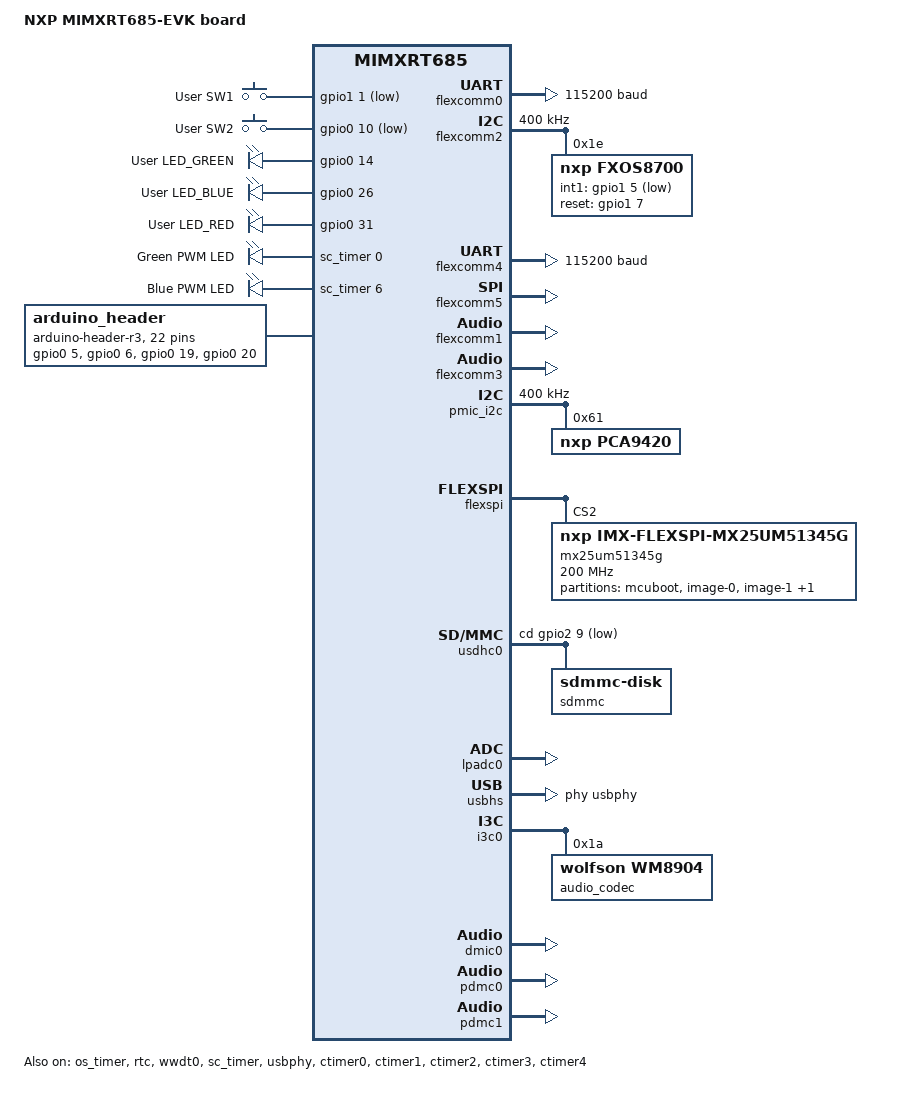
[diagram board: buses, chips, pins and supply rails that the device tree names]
/*
 * Copyright 2020-2024 NXP
 *
 * SPDX-License-Identifier: Apache-2.0
 */

/dts-v1/;

#include <nxp/nxp_rt6xx.dtsi>
#include <zephyr/dt-bindings/pwm/pwm.h>
#include <zephyr/dt-bindings/gpio/arduino-header-r3.h>
#include <zephyr/dt-bindings/input/input-event-codes.h>

#include "mimxrt685_evk-pinctrl.dtsi"

/ {
	model = "NXP MIMXRT685-EVK board";
	compatible = "nxp,mimxrt685";

	aliases {
		sw0 = &user_button_1;
		sw1 = &user_button_2;
		led0 = &green_led;
		led1 = &blue_led;
		led2 = &red_led;
		usart-0 = &flexcomm0;
		/* For pwm test suites */
		pwm-0 = &sc_timer;
		pwm-led0 = &green_pwm_led;
		green-pwm-led = &green_pwm_led;
		blue-pwm-led = &blue_pwm_led;
		red-pwm-led = &red_pwm_led;
		watchdog0 = &wwdt0;
		magn0 = &fxos8700;
		accel0 = &fxos8700;
		sdhc0 = &usdhc0;
		dmic-dev = &dmic0;
		mcuboot-button0 = &user_button_1;
		mbox = &mbox;
	};

	chosen {
		zephyr,flash-controller = &mx25um51345g;
		zephyr,flash = &mx25um51345g;
		zephyr,code-partition = &slot0_partition;
		zephyr,uart-mcumgr = &flexcomm0;
		zephyr,sram = &sram0;
		zephyr,console = &flexcomm0;
		zephyr,shell-uart = &flexcomm0;
	};

	gpio_keys {
		compatible = "gpio-keys";

		user_button_1: button_0 {
			label = "User SW1";
			gpios = <&gpio1 1 GPIO_ACTIVE_LOW>;
			zephyr,code = <INPUT_KEY_0>;
		};

		user_button_2: button_1 {
			label = "User SW2";
			gpios = <&gpio0 10 GPIO_ACTIVE_LOW>;
			zephyr,code = <INPUT_KEY_1>;
		};
	};

	leds: leds {
		compatible = "gpio-leds";

		green_led: led_1 {
			gpios = <&gpio0 14 0>;
			label = "User LED_GREEN";
		};

		blue_led: led_2 {
			gpios = <&gpio0 26 0>;
			label = "User LED_BLUE";
		};

		red_led: led_3 {
			gpios = <&gpio0 31 0>;
			label = "User LED_RED";
		};
	};

	pwmleds {
		compatible = "pwm-leds";

		green_pwm_led: green_pwm_led {
			pwms = <&sc_timer 0 PWM_MSEC(20) PWM_POLARITY_NORMAL>;
			label = "Green PWM LED";
			status = "okay";
		};

		blue_pwm_led: blue_pwm_led {
			pwms = <&sc_timer 6 PWM_MSEC(20) PWM_POLARITY_NORMAL>;
			label = "Blue PWM LED";
			status = "okay";
		};

		red_pwm_led: red_pwm_led {
			pwms = <&sc_timer 6 PWM_MSEC(20) PWM_POLARITY_NORMAL>;
			label = "Red PWM LED";
			status = "disabled";
		};
	};

	arduino_header: arduino-connector {
		compatible = "arduino-header-r3";
		#gpio-cells = <2>;
		gpio-map-mask = <0xffffffff 0xffffffc0>;
		gpio-map-pass-thru = <0 0x3f>;
		gpio-map = <ARDUINO_HEADER_R3_A0 0 &gpio0 5 0>,
			   <ARDUINO_HEADER_R3_A1 0 &gpio0 6 0>,
			   <ARDUINO_HEADER_R3_A2 0 &gpio0 19 0>,
			   <ARDUINO_HEADER_R3_A3 0 &gpio0 20 0>,
			   <ARDUINO_HEADER_R3_A4 0 &gpio0 17 0>,
			   <ARDUINO_HEADER_R3_A5 0 &gpio0 18 0>,
			   <ARDUINO_HEADER_R3_D0 0 &gpio0 30 0>,
			   <ARDUINO_HEADER_R3_D1 0 &gpio0 29 0>,
			   <ARDUINO_HEADER_R3_D2 0 &gpio0 28 0>,
			   <ARDUINO_HEADER_R3_D3 0 &gpio0 27 0>,
			   <ARDUINO_HEADER_R3_D4 0 &gpio1 0 0>,
			   <ARDUINO_HEADER_R3_D5 0 &gpio1 10 0>,
			   <ARDUINO_HEADER_R3_D6 0 &gpio1 2 0>,
			   <ARDUINO_HEADER_R3_D7 0 &gpio1 8 0>,
			   <ARDUINO_HEADER_R3_D8 0 &gpio1 9 0>,
			   <ARDUINO_HEADER_R3_D9 0 &gpio1 7 0>,
			   <ARDUINO_HEADER_R3_D10 0 &gpio1 6 0>,
			   <ARDUINO_HEADER_R3_D11 0 &gpio1 5 0>,
			   <ARDUINO_HEADER_R3_D12 0 &gpio1 4 0>,
			   <ARDUINO_HEADER_R3_D13 0 &gpio1 3 0>,
			   <ARDUINO_HEADER_R3_D14 0 &gpio0 17 0>,
			   <ARDUINO_HEADER_R3_D15 0 &gpio0 18 0>;
	};
};

/*
 * RT600 EVK board uses OS timer as the kernel timer
 * In case we need to switch to SYSTICK timer, then
 * replace &os_timer with &systick
 */
&os_timer {
	status = "okay";
	wakeup-source;
};

&rtc {
	status = "okay";
};

&flexcomm0 {
	compatible = "nxp,lpc-usart";
	status = "okay";
	current-speed = <115200>;
	pinctrl-0 = <&pinmux_flexcomm0_usart>;
	pinctrl-names = "default";
	dmas = <&dma0 0>, <&dma0 1>;
	dma-names = "rx", "tx";
};

arduino_i2c: &flexcomm2 {
	compatible = "nxp,lpc-i2c";
	status = "okay";
	pinctrl-0 = <&pinmux_flexcomm2_i2c>;
	pinctrl-names = "default";
	clock-frequency = <I2C_BITRATE_FAST>;
	#address-cells = <1>;
	#size-cells = <0>;

	fxos8700: fxos8700@1e {
		compatible = "nxp,fxos8700";
		reg = <0x1e>;
		int1-gpios = <&gpio1 5 GPIO_ACTIVE_LOW>;
		reset-gpios = <&gpio1 7 GPIO_ACTIVE_HIGH>;
	};
};

arduino_serial: &flexcomm4 {
	compatible = "nxp,lpc-usart";
	status = "okay";
	current-speed = <115200>;
	pinctrl-0 = <&pinmux_flexcomm4_usart>;
	pinctrl-names = "default";
	dmas = <&dma0 8>, <&dma0 9>;
	dma-names = "rx", "tx";
};

arduino_spi: &flexcomm5 {
	compatible = "nxp,lpc-spi";
	status = "okay";
	#address-cells = <1>;
	#size-cells = <0>;
	dmas = <&dma0 10>, <&dma0 11>;
	dma-names = "rx", "tx";
	pinctrl-0 = <&pinmux_flexcomm5_spi>;
	pinctrl-names = "default";
};

/* I2S receive channel */
i2s0: &flexcomm1 {
	status = "okay";
	compatible = "nxp,lpc-i2s";
	#address-cells = <1>;
	#size-cells = <0>;
	dmas = <&dma0 2>;
	dma-names = "rx";
	pinctrl-0 = <&pinmux_flexcomm1_i2s>;
	pinctrl-names = "default";
};

/* I2S transmit channel */
i2s1: &flexcomm3 {
	status = "okay";
	compatible = "nxp,lpc-i2s";
	#address-cells = <1>;
	#size-cells = <0>;
	dmas = <&dma0 7>;
	dma-names = "tx";
	pinctrl-0 = <&pinmux_flexcomm3_i2s>;
	pinctrl-names = "default";
};

/* PCA9420 PMIC */
&pmic_i2c {
	status = "okay";
	compatible = "nxp,lpc-i2c";
	clock-frequency = <I2C_BITRATE_FAST>;
	#address-cells = <1>;
	#size-cells = <0>;
	pinctrl-0 = <&pinmux_pmic_i2c>;
	pinctrl-names = "default";

	pca9420: pca9420@61 {
		compatible = "nxp,pca9420";
		reg = <0x61>;
		nxp,enable-modesel-pins;

		buck1: BUCK1 {
			regulator-boot-on;
		};

		buck2: BUCK2 {
			regulator-boot-on;
		};

		ldo1: LDO1 {
			regulator-boot-on;
		};

		ldo2: LDO2 {
			regulator-boot-on;
		};
	};
};

&flexspi {
	pinctrl-0 = <&pinmux_flexspi>;
	pinctrl-names = "default";
	status = "okay";

	mx25um51345g: mx25um51345g@2 {
		compatible = "nxp,imx-flexspi-mx25um51345g";
		/* MX25UM51245G is 64MB, 512MBit flash part */
		size = <DT_SIZE_M(64 * 8)>;
		reg = <2>;
		spi-max-frequency = <DT_FREQ_M(200)>;
		status = "okay";
		jedec-id = [c2 81 3a];
		erase-block-size = <DT_SIZE_K(4)>;
		write-block-size = <1>; /* FLASH_MCUX_FLEXSPI_MX25UM51345G_OPI_STR set */

		partitions {
			compatible = "fixed-partitions";
			#address-cells = <1>;
			#size-cells = <1>;

			/*
			 * Partition sizes must be aligned
			 * to the flash memory sector size of 4KB.
			 */
			boot_partition: partition@0 {
				label = "mcuboot";
				reg = <0x00000000 DT_SIZE_K(128)>;
			};

			slot0_partition: partition@20000 {
				label = "image-0";
				reg = <0x00020000 DT_SIZE_M(3)>;
			};

			slot1_partition: partition@320000 {
				label = "image-1";
				reg = <0x00320000 DT_SIZE_M(3)>;
			};

			storage_partition: partition@620000 {
				label = "storage";
				reg = <0x00620000 (DT_SIZE_M(58) - DT_SIZE_K(128))>;
			};
		};
	};
};

&gpio0 {
	status = "okay";
};

&gpio1 {
	status = "okay";
};

&gpio2 {
	status = "okay";
};

&dma0 {
	status = "okay";
};

&wwdt0 {
	status = "okay";
};

&user_button_1 {
	status = "okay";
};

&user_button_2 {
	status = "okay";
};

&green_led {
	status = "okay";
};

&blue_led {
	status = "okay";
};

&red_led {
	status = "okay";
};

&sc_timer {
	status = "okay";
	pinctrl-0 = <&pinmux_sctimer>;
	pinctrl-names = "default";
};

&usdhc0 {
	status = "okay";
	/* Quick fix for 1.8V SD cards on RT600- disable 1.8V negotiation */
	no-1-8-v;
	pwr-gpios = <&gpio2 10 GPIO_ACTIVE_HIGH>;
	cd-gpios = <&gpio2 9 GPIO_ACTIVE_LOW>;

	sdmmc {
		compatible = "zephyr,sdmmc-disk";
		disk-name = "SD";
		status = "okay";
	};
	pinctrl-0 = <&pinmux_usdhc>;
	pinctrl-names = "default";
};

&lpadc0 {
	status = "okay";
	pinctrl-0 = <&pinmux_lpadc0>;
	pinctrl-names = "default";
};

zephyr_udc0: &usbhs {
	status = "okay";
	phy-handle = <&usbphy>;
};

&usbphy {
	status = "okay";
	tx-d-cal = <12>;
	tx-cal-45-dp-ohms = <6>;
	tx-cal-45-dm-ohms = <6>;
};

&ctimer0 {
	status = "okay";
};

&ctimer1 {
	status = "okay";
};

&ctimer2 {
	status = "okay";
};

&ctimer3 {
	status = "okay";
};

&ctimer4 {
	status = "okay";
};

&i3c0 {
	pinctrl-0 = <&pinmux_i3c>;
	pinctrl-names = "default";

	status = "okay";

	audio_codec: wm8904@1a0000000000000000 {
		compatible = "wolfson,wm8904";
		reg = <0x1a 0 0>;

		clock-source = "MCLK";

		clocks = <&clkctl0 MCUX_AUDIO_MCLK>;
		clock-names = "mclk";
	};
};

/* Disable this node if not using USB and need another MPU region */
&sram1 {
	status = "okay";
};

&mbox {
	status = "okay";
};

&dmic0 {
	status = "okay";
	pinctrl-0 = <&pinmux_dmic0>;
	pinctrl-names = "default";
	use2fs;
};

/* Configure pdm channels 0 and 1 with gain, and cutoff settings
 * appropriate for the attached MEMS microphones.
 */
&pdmc0 {
	status = "okay";
	gainshift = <3>;
	dc-cutoff = "155hz";
	dc-gain = <1>;
};

&pdmc1 {
	status = "okay";
	gainshift = <3>;
	dc-cutoff = "155hz";
	dc-gain = <1>;
};
